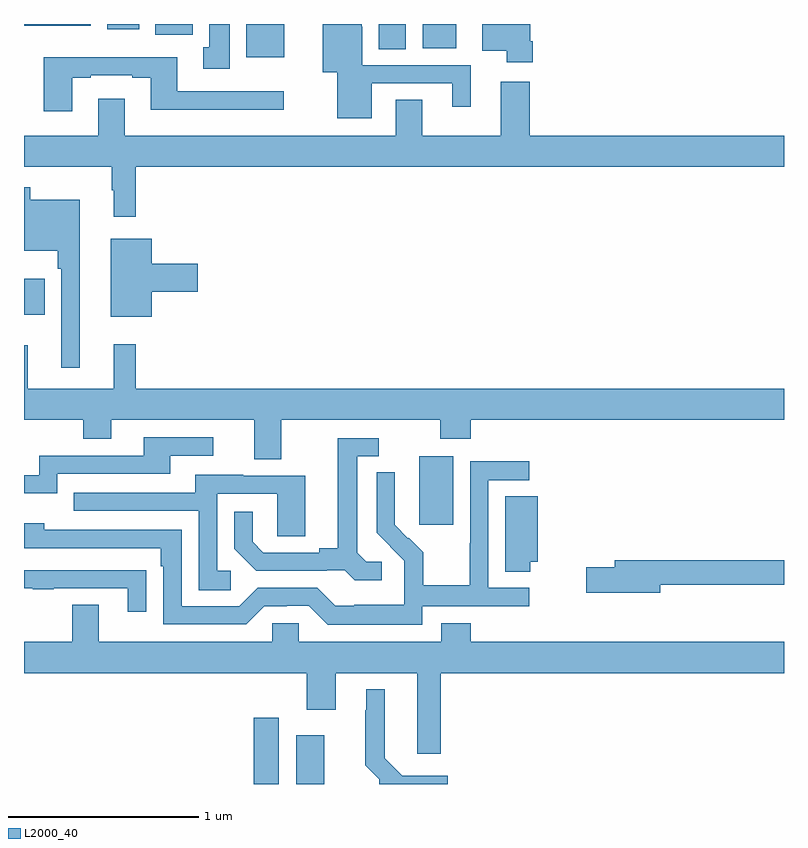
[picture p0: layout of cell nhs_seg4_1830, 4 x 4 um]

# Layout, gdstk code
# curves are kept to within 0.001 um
import gdstk
lib = gdstk.Library(unit=1e-6, precision=1e-09)
def R(c, l, rs):  # rectangles x0, y0, x1, y1
    for r in rs: c.add(gdstk.rectangle(r[:2], r[2:], *l))
def P(c, l, *ps):  # polygons
    for p in ps: c.add(gdstk.Polygon(p, *l))
L2000_40 = (2000, 40)

nhs_seg4_1830 = lib.new_cell('nhs_seg4_1830')
R(nhs_seg4_1830, L2000_40, [(206.21,798.9,206.341,799.249), (206.432,798.9,206.581,799.156), (207.08,800.265,207.259,800.626), (205,801.371,205.108,801.559), (206.171,802.724,206.371,802.9), (206.867,802.768,207.01,802.9), (207.098,802.772,207.274,802.9), (205.691,802.844,205.888,802.9), (205.439,802.872,205.606,802.9), (205,802.892,205.351,802.9)])
P(nhs_seg4_1830, L2000_40, [(207.677,802.81),(207.664,802.81),(207.664,802.9),(207.413,802.9),(207.413,802.76),(207.542,802.76),(207.542,802.698),(207.677,802.698)],
  [(206.83,802.587),(207.254,802.587),(207.254,802.464),(207.352,802.464),(207.352,802.683),(206.779,802.683),(206.779,802.886),(206.778,802.886),(206.778,802.9),(206.573,802.9),(206.573,802.646),(206.648,802.646),(206.648,802.403),(206.83,802.403)],
  [(206.083,802.9),(205.976,802.9),(205.976,802.778),(205.943,802.778),(205.943,802.665),(206.083,802.665)],
  [(205.255,802.617),(205.351,802.617),(205.351,802.629),(205.571,802.629),(205.571,802.617),(205.667,802.617),(205.667,802.448),(206.368,802.448),(206.368,802.545),(205.807,802.545),(205.807,802.726),(205.103,802.726),(205.103,802.44),(205.255,802.44)],
  [(205.589,802.148),(209,802.148),(209,802.312),(207.662,802.312),(207.662,802.597),(207.509,802.597),(207.509,802.312),(207.097,802.312),(207.097,802.502),(206.957,802.502),(206.957,802.312),(205.531,802.312),(205.531,802.507),(205.391,802.507),(205.391,802.312),(205,802.312),(205,802.148),(205.461,802.148),(205.461,802.025),(205.472,802.025),(205.472,801.885),(205.589,801.885)],
  [(205.294,801.976),(205.033,801.976),(205.033,802.042),(205,802.042),(205,801.707),(205.177,801.707),(205.177,801.611),(205.197,801.611),(205.197,801.09),(205.294,801.09)],
  [(205.672,801.491),(205.915,801.491),(205.915,801.638),(205.672,801.638),(205.672,801.769),(205.457,801.769),(205.457,801.359),(205.672,801.359)],
  [(206.353,800.816),(207.19,800.816),(207.19,800.717),(207.35,800.717),(207.35,800.816),(209,800.816),(209,800.98),(205.589,800.98),(205.589,801.214),(205.472,801.214),(205.472,800.98),(205.019,800.98),(205.019,801.208),(205,801.208),(205,800.816),(205.312,800.816),(205.312,800.717),(205.459,800.717),(205.459,800.816),(206.213,800.816),(206.213,800.608),(206.353,800.608)],
  [(205.176,800.532),(205.771,800.532),(205.771,800.628),(205.996,800.628),(205.996,800.724),(205.631,800.724),(205.631,800.628),(205.08,800.628),(205.08,800.526),(205,800.526),(205,800.429),(205.176,800.429)],
  [(206.884,800.07),(206.802,800.07),(206.755,800.117),(206.755,800.625),(206.866,800.625),(206.866,800.721),(206.651,800.721),(206.651,800.141),(206.555,800.141),(206.555,800.118),(206.26,800.118),(206.203,800.175),(206.203,800.332),(206.106,800.332),(206.106,800.138),(206.222,800.022),(206.594,800.022),(206.594,800.025),(206.688,800.025),(206.74,799.973),(206.884,799.973)],
  [(207.096,799.836),(207.658,799.836),(207.658,799.932),(207.444,799.932),(207.444,800.499),(207.658,800.499),(207.658,800.598),(207.348,800.598),(207.348,800.168),(207.346,800.168),(207.346,799.945),(207.101,799.945),(207.101,800.119),(207.024,800.196),(207.021,800.193),(206.951,800.264),(206.952,800.54),(206.856,800.54),(206.856,800.222),(207.002,800.074),(207.002,799.977),(207,799.977),(207,799.843),(206.737,799.843),(206.737,799.839),(206.637,799.839),(206.544,799.932),(206.229,799.932),(206.133,799.836),(205.83,799.836),(205.83,800.238),(205.106,800.238),(205.106,800.272),(205,800.272),(205,800.142),(205.721,800.142),(205.721,800.045),(205.734,800.045),(205.734,799.74),(206.169,799.74),(206.265,799.836),(206.384,799.836),(206.384,799.839),(206.499,799.839),(206.599,799.739),(207.096,799.739)],
  [(206.089,800.022),(206.016,800.022),(206.016,800.427),(206.334,800.427),(206.334,800.203),(206.479,800.203),(206.479,800.523),(206.155,800.523),(206.155,800.527),(205.901,800.527),(205.901,800.433),(205.261,800.433),(205.261,800.337),(205.92,800.337),(205.92,799.921),(206.089,799.921)],
  [(207.664,800.07),(207.704,800.07),(207.704,800.414),(207.533,800.414),(207.533,800.017),(207.664,800.017)],
  [(208.348,799.95),(209,799.95),(209,800.078),(208.109,800.078),(208.109,800.042),(207.96,800.042),(207.96,799.907),(208.348,799.907)],
  [(205.643,800.024),(205.541,800.024),(205.541,800.025),(205,800.025),(205,799.929),(205.045,799.929),(205.045,799.924),(205.157,799.924),(205.157,799.929),(205.547,799.929),(205.547,799.806),(205.643,799.806)],
  [(207.194,799.484),(209,799.484),(209,799.648),(207.35,799.648),(207.35,799.747),(207.197,799.747),(207.197,799.648),(206.445,799.648),(206.445,799.746),(206.307,799.746),(206.307,799.648),(205.393,799.648),(205.393,799.843),(205.253,799.843),(205.253,799.648),(205,799.648),(205,799.484),(206.489,799.484),(206.489,799.29),(206.641,799.29),(206.641,799.484),(207.071,799.484),(207.071,799.059),(207.194,799.059)],
  [(207.229,798.943),(206.991,798.943),(206.899,799.036),(206.899,799.399),(206.801,799.399),(206.801,799.289),(206.797,799.289),(206.797,798.998),(206.871,798.924),(206.871,798.9),(207.229,798.9)])

lib.write_gds('nhs_seg4_1830.gds')
